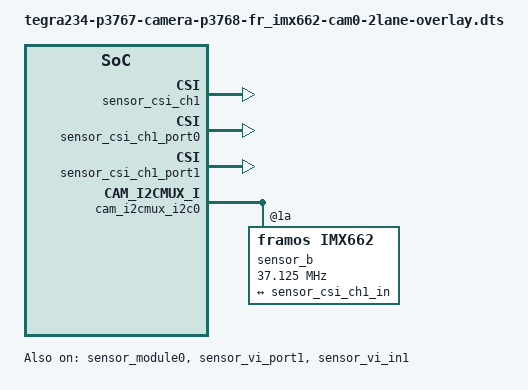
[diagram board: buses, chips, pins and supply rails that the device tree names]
// SPDX-License-Identifier: GPL-2.0
/*
 * Copyright (c) 2024 Framos. All rights reserved.
 *
 * tegra234-p3767-camera-p3768-fr_imx662-cam0-2lane-overlay.dts - IMX662 sensor device tree
 */

/dts-v1/;
/plugin/;

#include <dt-bindings/clock/tegra234-clock.h>
#include <dt-bindings/gpio/tegra234-gpio.h>
#include <dt-bindings/tegra234-p3767-0000-common.h>


/ {
	overlay-name = "Framos IMX662-CAM0-2Lane";
	jetson-header-name = "Jetson 24pin CSI Connector";
	compatible = JETSON_COMPATIBLE_P3768;

	fragment@0 {
		target = <&sensor_module0>;
		__overlay__ {
			status = "okay";
			badge = "imx662_front_framos";
			drivernode0 {
				status = "okay";
				/* Declare PCL support driver (classically known as guid) */
				devname = "imx662 10-001a";
				/* Declare the device-tree hierarchy to driver instance */
				sysfs-device-tree = "/sys/firmware/devicetree/base/bus@0/cam_i2cmux/i2c@0/imx662_b@1a";
			};
		};
	};

	fragment@1 {
		target = <&sensor_vi_port1>;
		__overlay__ {
			status = "okay";
		};
	};

	fragment@2 {
		target = <&sensor_vi_in1>;
		__overlay__ {
			status = "okay";
			bus-width = <2>;
		};
	};

	fragment@3 {
		target = <&sensor_csi_ch1>;
		__overlay__ {
			status = "okay";
			ports {
				status = "okay";
			};
		};
	};

	fragment@4 {
		target = <&sensor_csi_ch1_port0>;
		__overlay__ {
			status = "okay";
		};
	};

	fragment@5 {
		target = <&sensor_csi_ch1_in>;
		__overlay__ {
			status = "okay";
			bus-width = <2>;
			remote-endpoint = <&sensor_out_b>;
		};
	};

	fragment@6 {
		target = <&sensor_csi_ch1_port1>;
		__overlay__ {
			status = "okay";
		};
	};

	fragment@7 {
		target = <&sensor_csi_ch1_out>;
		__overlay__ {
			status = "okay";
		};
	};

	fragment@8 {
		target = <&cam_i2cmux_i2c0>;
		__overlay__ {
			sensor_b: imx662_b@1a {
				compatible = "framos,imx662";
				reg = <0x1a>;

				/* Define any required hw resources needed by driver */
				/* ie. clocks, io pins, power sources */
				clocks = <&bpmp TEGRA234_CLK_EXTPERIPH1>, <&bpmp TEGRA234_CLK_EXTPERIPH1>;
				clock-names = "extperiph1", "pllp_grtba";
				mclk = "extperiph1";
				clock-frequency = <37125000>;

				devnode = "video0";

				physical_w = "12.00";
				physical_h = "9.30";

				sensor_model ="imx662";

				/* Defines number of frames to be dropped by driver internally after applying */
				/* sensor crop settings. Some sensors send corrupt frames after applying */
				/* crop co-ordinates */
				post_crop_frame_drop = "0";

				/* Convert Gain to unit of dB (decibel) befor passing to kernel driver */
				use_decibel_gain = "true";

				/* if true, delay gain setting by one frame to be in sync with exposure */
				delayed_gain = "false";

				/* enable CID_SENSOR_MODE_ID for sensor modes selection */
				use_sensor_mode_id = "false";

				mode0 {
					mclk_khz = "37125";
					num_lanes = "2";
					tegra_sinterface = "serial_b";
					vc_id = "0";
					phy_mode = "DPHY";
					discontinuous_clk = "no";
					dpcm_enable = "false";
					cil_settletime = "0";
					lane_polarity = "6";
					active_w = "1920";
					active_h = "1080";

					dynamic_pixel_bit_depth = "10";
					csi_pixel_bit_depth = "10";
					mode_type = "bayer";
					pixel_phase = "rggb";

					readout_orientation = "0";
					line_length = "2000";
					inherent_gain = "1";
					pix_clk_hz = "288000000";
					serdes_pix_clk_hz = "12000000000"; /* GMSL predefine */

					gain_factor = "10";
					min_gain_val = "0"; /* 0dB */
					max_gain_val = "720"; /* 72dB */
					step_gain_val = "3"; /* 0.3 */
					default_gain = "0";
					min_hdr_ratio = "1";
					max_hdr_ratio = "64";
					framerate_factor = "1000000";
					min_framerate = "1500000"; /* 1.5 */
					max_framerate = "98000000"; /* 98 */
					step_framerate = "1";
					default_framerate = "98000000";
					exposure_factor = "1000000";
					min_exp_time = "9"; /* us */
					max_exp_time = "660000"; /* us */
					step_exp_time = "1";
					default_exp_time = "10000"; /* us */
					embedded_metadata_height = "1";
				};
				mode1 {
					mclk_khz = "37125";
					num_lanes = "2";
					tegra_sinterface = "serial_b";
					vc_id = "0";
					phy_mode = "DPHY";
					discontinuous_clk = "no";
					dpcm_enable = "false";
					cil_settletime = "0";
					lane_polarity = "6";
					active_w = "1280";
					active_h = "720";

					dynamic_pixel_bit_depth = "10";
					csi_pixel_bit_depth = "10";
					mode_type = "bayer";
					pixel_phase = "rggb";

					readout_orientation = "0";
					line_length = "2000";
					inherent_gain = "1";
					pix_clk_hz = "288000000";
					serdes_pix_clk_hz = "12000000000"; /* GMSL predefine */

					gain_factor = "10";
					min_gain_val = "0"; /* 0dB */
					max_gain_val = "720"; /* 72dB */
					step_gain_val = "3"; /* 0.3 */
					default_gain = "0";
					min_hdr_ratio = "1";
					max_hdr_ratio = "64";
					framerate_factor = "1000000";
					min_framerate = "1500000"; /* 1.5 */
					max_framerate = "143000000"; /* 143 */
					step_framerate = "1";
					default_framerate = "143000000";
					exposure_factor = "1000000";
					min_exp_time = "9"; /* us */
					max_exp_time = "660000"; /* us */
					step_exp_time = "1";
					default_exp_time = "10000"; /* us */
					embedded_metadata_height = "1";
				};
				mode2 {
					mclk_khz = "37125";
					num_lanes = "2";
					tegra_sinterface = "serial_b";
					vc_id = "0";
					phy_mode = "DPHY";
					discontinuous_clk = "no";
					dpcm_enable = "false";
					cil_settletime = "0";
					lane_polarity = "6";
					active_w = "640";
					active_h = "480";

					dynamic_pixel_bit_depth = "10";
					csi_pixel_bit_depth = "10";
					mode_type = "bayer";
					pixel_phase = "rggb";

					readout_orientation = "0";
					line_length = "2000";
					inherent_gain = "1";
					pix_clk_hz = "288000000";
					serdes_pix_clk_hz = "12000000000"; /* GMSL predefine */

					gain_factor = "10";
					min_gain_val = "0"; /* 0dB */
					max_gain_val = "720"; /* 72dB */
					step_gain_val = "3"; /* 0.3 */
					default_gain = "0";
					min_hdr_ratio = "1";
					max_hdr_ratio = "64";
					framerate_factor = "1000000";
					min_framerate = "1500000"; /* 1.5 */
					max_framerate = "205000000"; /* 205 */
					step_framerate = "1";
					default_framerate = "205000000";
					exposure_factor = "1000000";
					min_exp_time = "9"; /* us */
					max_exp_time = "660000"; /* us */
					step_exp_time = "1";
					default_exp_time = "10000"; /* us */
					embedded_metadata_height = "1";
				};
				mode3 {
					mclk_khz = "37125";
					num_lanes = "2";
					tegra_sinterface = "serial_b";
					vc_id = "0";
					phy_mode = "DPHY";
					discontinuous_clk = "no";
					dpcm_enable = "false";
					cil_settletime = "0";
					lane_polarity = "6";
					active_w = "1920";
					active_h = "1080";

					dynamic_pixel_bit_depth = "12";
					csi_pixel_bit_depth = "12";
					mode_type = "bayer";
					pixel_phase = "rggb";

					readout_orientation = "0";
					line_length = "2000";
					inherent_gain = "1";
					pix_clk_hz = "288000000";
					serdes_pix_clk_hz = "12000000000"; /* GMSL predefine */

					gain_factor = "10";
					min_gain_val = "0"; /* 0dB */
					max_gain_val = "720"; /* 72dB */
					step_gain_val = "3"; /* 0.3 */
					default_gain = "0";
					min_hdr_ratio = "1";
					max_hdr_ratio = "64";
					framerate_factor = "1000000";
					min_framerate = "1500000"; /* 1.5 */
					max_framerate = "66000000"; /* 66 */
					step_framerate = "1";
					default_framerate = "66000000";
					exposure_factor = "1000000";
					min_exp_time = "9"; /* us */
					max_exp_time = "660000"; /* us */
					step_exp_time = "1";
					default_exp_time = "10000"; /* us */
					embedded_metadata_height = "1";
				};
				mode4 {
					mclk_khz = "37125";
					num_lanes = "2";
					tegra_sinterface = "serial_b";
					vc_id = "0";
					phy_mode = "DPHY";
					discontinuous_clk = "no";
					dpcm_enable = "false";
					cil_settletime = "0";
					lane_polarity = "6";
					active_w = "1280";
					active_h = "720";

					dynamic_pixel_bit_depth = "12";
					csi_pixel_bit_depth = "12";
					mode_type = "bayer";
					pixel_phase = "rggb";

					readout_orientation = "0";
					line_length = "2000";
					inherent_gain = "1";
					pix_clk_hz = "288000000";
					serdes_pix_clk_hz = "12000000000"; /* GMSL predefine */

					gain_factor = "10";
					min_gain_val = "0"; /* 0dB */
					max_gain_val = "720"; /* 72dB */
					step_gain_val = "3"; /* 0.3 */
					default_gain = "0";
					min_hdr_ratio = "1";
					max_hdr_ratio = "64";
					framerate_factor = "1000000";
					min_framerate = "1500000"; /* 1.5 */
					max_framerate = "95000000"; /* 95 */
					step_framerate = "1";
					default_framerate = "95000000";
					exposure_factor = "1000000";
					min_exp_time = "9"; /* us */
					max_exp_time = "660000"; /* us */
					step_exp_time = "1";
					default_exp_time = "10000"; /* us */
					embedded_metadata_height = "1";
				};
				mode5 {
					mclk_khz = "37125";
					num_lanes = "2";
					tegra_sinterface = "serial_b";
					vc_id = "0";
					phy_mode = "DPHY";
					discontinuous_clk = "no";
					dpcm_enable = "false";
					cil_settletime = "0";
					lane_polarity = "6";
					active_w = "640";
					active_h = "480";

					dynamic_pixel_bit_depth = "12";
					csi_pixel_bit_depth = "12";
					mode_type = "bayer";
					pixel_phase = "rggb";

					readout_orientation = "0";
					line_length = "2000";
					inherent_gain = "1";
					pix_clk_hz = "288000000";
					serdes_pix_clk_hz = "12000000000"; /* GMSL predefine */

					gain_factor = "10";
					min_gain_val = "0"; /* 0dB */
					max_gain_val = "720"; /* 72dB */
					step_gain_val = "3"; /* 0.3 */
					default_gain = "0";
					min_hdr_ratio = "1";
					max_hdr_ratio = "64";
					framerate_factor = "1000000";
					min_framerate = "1500000"; /* 1.5 */
					max_framerate = "137000000"; /* 137 */
					step_framerate = "1";
					default_framerate = "137000000";
					exposure_factor = "1000000";
					min_exp_time = "9"; /* us */
					max_exp_time = "660000"; /* us */
					step_exp_time = "1";
					default_exp_time = "10000"; /* us */
					embedded_metadata_height = "1";
				};
				mode6 {
					mclk_khz = "37125";
					num_lanes = "2";
					tegra_sinterface = "serial_b";
					vc_id = "0";
					phy_mode = "DPHY";
					discontinuous_clk = "no";
					dpcm_enable = "false";
					cil_settletime = "0";
					lane_polarity = "6";
					active_w = "968";
					active_h = "550";

					dynamic_pixel_bit_depth = "12";
					csi_pixel_bit_depth = "12";
					mode_type = "bayer";
					pixel_phase = "rggb";

					readout_orientation = "0";
					line_length = "2000";
					inherent_gain = "1";
					pix_clk_hz = "288000000";
					serdes_pix_clk_hz = "12000000000"; /* GMSL predefine */

					gain_factor = "10";
					min_gain_val = "0"; /* 0dB */
					max_gain_val = "720"; /* 72dB */
					step_gain_val = "3"; /* 0.3 */
					default_gain = "0";
					min_hdr_ratio = "1";
					max_hdr_ratio = "64";
					framerate_factor = "1000000";
					min_framerate = "1500000"; /* 1.5 */
					max_framerate = "96000000"; /* 96 */
					step_framerate = "1";
					default_framerate = "96000000";
					exposure_factor = "1000000";
					min_exp_time = "9"; /* us */
					max_exp_time = "660000"; /* us */
					step_exp_time = "1";
					default_exp_time = "10000"; /* us */
					embedded_metadata_height = "1";
				};
				mode7 {
					mclk_khz = "37125";
					num_lanes = "2";
					tegra_sinterface = "serial_b";
					vc_id="0";
					phy_mode = "DPHY";
					discontinuous_clk = "no";
					dpcm_enable = "false";
					cil_settletime = "0";
					lane_polarity = "6";
					active_w = "1952";
					active_h = "2396";

					dynamic_pixel_bit_depth = "10";
					csi_pixel_bit_depth = "10";
					mode_type = "bayer_wdr_dol";
					pixel_phase = "rggb";

					readout_orientation = "0";
					line_length = "2000";
					inherent_gain = "1";
					pix_clk_hz = "288000000";
					serdes_pix_clk_hz = "12000000000"; /* GMSL predefine */

					gain_factor = "10";
					min_gain_val = "0"; /* 0dB */
					max_gain_val = "720"; /* 72dB */
					step_gain_val = "3"; /* 0.3 */
					default_gain = "0";
					min_hdr_ratio = "16";
					max_hdr_ratio = "16";

					framerate_factor = "1000000";
					min_framerate = "1500000"; /* 1.5 */
					max_framerate = "66000000"; /* 66 */
					step_framerate = "1";
					default_framerate = "66000000";
					exposure_factor = "1000000";
					min_exp_time = "568"; /* us */
					max_exp_time = "21617"; /* us */

					step_exp_time = "1";
					default_exp_time = "10000"; /* us */
					embedded_metadata_height = "1";

					/* HDR */
					num_of_exposure = "2";
					num_of_lines_offset_0 = "118";
					num_of_ignored_pixels = "16";
					num_of_left_margin_pixels = "8";
					num_of_right_margin_pixels = "8";
				};
				mode8 {
					mclk_khz = "37125";
					num_lanes = "2";
					tegra_sinterface = "serial_b";
					vc_id="0";
					phy_mode = "DPHY";
					discontinuous_clk = "no";
					dpcm_enable = "false";
					cil_settletime = "0";
					lane_polarity = "6";
					active_w = "1952";
					active_h = "2396";

					dynamic_pixel_bit_depth = "12";
					csi_pixel_bit_depth = "12";
					mode_type = "bayer_wdr_dol";
					pixel_phase = "rggb";

					readout_orientation = "0";
					line_length = "2000";
					inherent_gain = "1";
					pix_clk_hz = "288000000";
					serdes_pix_clk_hz = "12000000000"; /* GMSL predefine */

					gain_factor = "10";
					min_gain_val = "0"; /* 0dB */
					max_gain_val = "720"; /* 72dB */
					step_gain_val = "3"; /* 0.3 */
					default_gain = "0";
					min_hdr_ratio = "16";
					max_hdr_ratio = "16";

					framerate_factor = "1000000";
					min_framerate = "1500000"; /* 1.5 */
					max_framerate = "30000000"; /* 66 */
					step_framerate = "1";
					default_framerate = "30000000";
					exposure_factor = "1000000";
					min_exp_time = "512"; /* us */
					max_exp_time = "19456"; /* us */

					step_exp_time = "1";
					default_exp_time = "10000"; /* us */
					embedded_metadata_height = "1";

					/* HDR */
					num_of_exposure = "2";
					num_of_lines_offset_0 = "118";
					num_of_ignored_pixels = "16";
					num_of_left_margin_pixels = "8";
					num_of_right_margin_pixels = "8";
				};
				mode9 {
					mclk_khz = "37125";
					num_lanes = "2";
					tegra_sinterface = "serial_b";
					vc_id="0";
					phy_mode = "DPHY";
					discontinuous_clk = "no";
					dpcm_enable = "false";
					cil_settletime = "0";
					lane_polarity = "6";
					active_w = "984";
					active_h = "1198";

					dynamic_pixel_bit_depth = "12";
					csi_pixel_bit_depth = "12";
					mode_type = "bayer_wdr_dol";
					pixel_phase = "rggb";

					readout_orientation = "0";
					line_length = "2000";
					inherent_gain = "1";
					pix_clk_hz = "288000000";
					serdes_pix_clk_hz = "12000000000"; /* GMSL predefine */

					gain_factor = "10";
					min_gain_val = "0"; /* 0dB */
					max_gain_val = "720"; /* 72dB */
					step_gain_val = "3"; /* 0.3 */
					default_gain = "0";
					min_hdr_ratio = "16";
					max_hdr_ratio = "16";

					framerate_factor = "1000000";
					min_framerate = "1500000"; /* 1.5 */
					max_framerate = "45000000"; /* 45 */
					step_framerate = "1";
					default_framerate = "45000000";
					exposure_factor = "1000000";
					min_exp_time = "568"; /* us */
					max_exp_time = "21617"; /* us */

					step_exp_time = "1";
					default_exp_time = "10000"; /* us */
					embedded_metadata_height = "1";

					/* HDR */
					num_of_exposure = "2";
					num_of_lines_offset_0 = "49";
					num_of_ignored_pixels = "16";
					num_of_left_margin_pixels = "4";
					num_of_right_margin_pixels = "4";
				};
				ports {
					#address-cells = <1>;
					#size-cells = <0>;
					port@0 {
						reg = <0>;
						sensor_out_b: endpoint {
							vc-id = <0>;
							port-index = <1>;
							bus-width = <2>;
							remote-endpoint = <&sensor_csi_ch1_in>;
						};
					};
				};
			};
		};
	};

};
